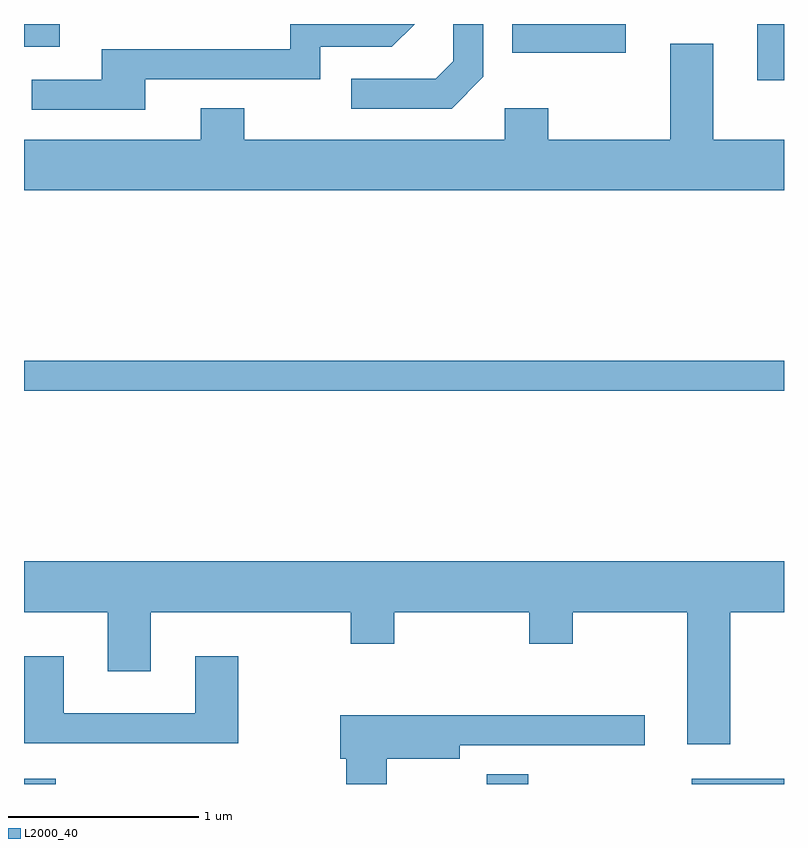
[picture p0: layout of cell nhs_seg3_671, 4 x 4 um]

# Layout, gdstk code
import gdstk
lib = gdstk.Library(unit=1e-6, precision=1e-09)
def R(c, l, rs):  # rectangles x0, y0, x1, y1
    for r in rs: c.add(gdstk.rectangle(r[:2], r[2:], *l))
def P(c, l, *ps):  # polygons
    for p in ps: c.add(gdstk.Polygon(p, *l))
L2000_40 = (2000, 40)

nhs_seg3_671 = lib.new_cell('nhs_seg3_671')
R(nhs_seg3_671, L2000_40, [(203.611,1233.892,203.779,1233.919), (206.046,1233.892,206.264,1233.944), (207.126,1233.892,207.611,1233.919), (203.611,1235.961,207.611,1236.119), (207.471,1237.596,207.611,1237.892), (206.181,1237.741,206.779,1237.892), (203.611,1237.771,203.799,1237.892)])
P(nhs_seg3_671, L2000_40, [(206.029,1237.614),(206.029,1237.892),(205.871,1237.892),(205.871,1237.697),(205.779,1237.604),(205.333,1237.604),(205.333,1237.446),(205.862,1237.446)],
  [(204.249,1237.601),(205.169,1237.601),(205.169,1237.771),(205.547,1237.771),(205.667,1237.892),(205.011,1237.892),(205.011,1237.759),(204.021,1237.759),(204.021,1237.599),(203.653,1237.599),(203.653,1237.441),(204.249,1237.441)],
  [(207.611,1237.284),(207.239,1237.284),(207.239,1237.789),(207.011,1237.789),(207.011,1237.284),(206.369,1237.284),(206.369,1237.449),(206.141,1237.449),(206.141,1237.284),(204.769,1237.284),(204.769,1237.449),(204.541,1237.449),(204.541,1237.284),(203.611,1237.284),(203.611,1237.016),(207.611,1237.016)],
  [(207.329,1234.796),(207.611,1234.796),(207.611,1235.064),(203.611,1235.064),(203.611,1234.796),(204.051,1234.796),(204.051,1234.486),(204.279,1234.486),(204.279,1234.796),(205.331,1234.796),(205.331,1234.631),(205.559,1234.631),(205.559,1234.796),(206.271,1234.796),(206.271,1234.631),(206.499,1234.631),(206.499,1234.796),(207.101,1234.796),(207.101,1234.101),(207.329,1234.101)],
  [(204.739,1234.564),(204.511,1234.564),(204.511,1234.264),(203.819,1234.264),(203.819,1234.564),(203.611,1234.564),(203.611,1234.106),(204.739,1234.106)],
  [(205.519,1234.026),(205.904,1234.026),(205.904,1234.096),(206.878,1234.096),(206.878,1234.254),(205.276,1234.254),(205.276,1234.026),(205.306,1234.026),(205.306,1233.892),(205.519,1233.892)])

lib.write_gds('nhs_seg3_671.gds')
